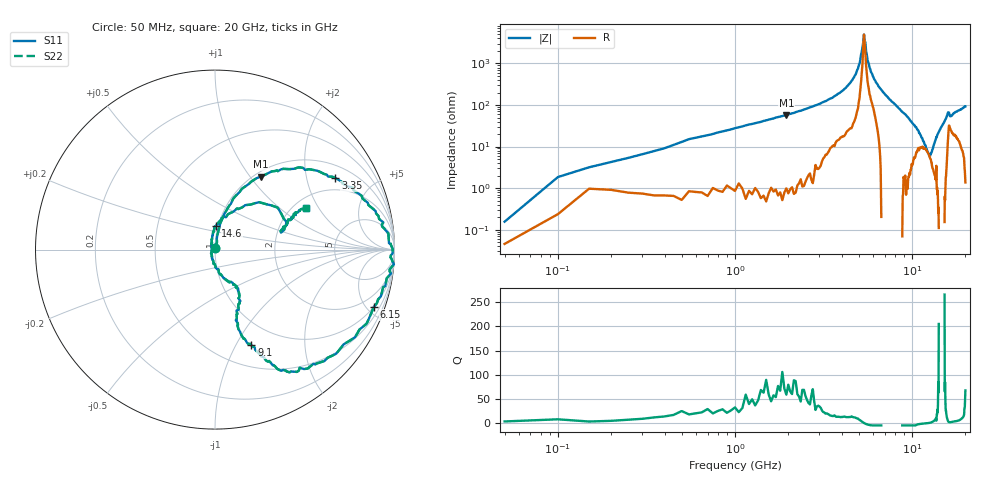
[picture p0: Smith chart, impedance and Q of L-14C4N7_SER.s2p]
#	mhz	s	ma	r	50
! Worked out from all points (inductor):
!   400 points, 50 MHz to 20 GHz, reference 50 ohm
!   read as one part in series: L = 3.31 nH near 150 MHz
!   highest Q = 71.7 at 1.95 GHz (marker M1), where L = 4.73 nH
!   self-resonance near 5.35 GHz
!   S11 on the Smith chart (normalised r, x): 50 MHz: 1.00, +0.02; 3.35 GHz: 1.47, +2.98; 6.15 GHz: 1.00, -5.52; 9.1 GHz: 0.73, -1.16; 14.6 GHz: 0.98, +0.26; 20 GHz: 2.32, +1.58
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50  0.01 84.9  1 0.4  1 0.4  0.01 84.9
150  0.04 74.4  0.99 -1.2  0.99 -1.2  0.04 74.4
550  0.15 78.6  0.98 -8.4  0.98 -8.4  0.15 78.6
1950  0.48 58.0  0.86 -31.6  0.86 -31.6  0.48 58.0
3350  0.78 30.7  0.6 -55.9  0.6 -55.9  0.78 30.7
3400  0.79 29.5  0.59 -56.8  0.59 -56.8  0.79 29.5
4800  0.97 3.3  0.18 -81.4  0.18 -81.4  0.97 3.3
5050  0.99 -1.2  0.1 -82.4  0.1 -82.4  0.99 -1.2
5350  1 -4.7  0.02 -9.8  0.02 -9.8  1 -4.7
5600  0.98 -8.6  0.08 63.2  0.08 63.2  0.98 -8.6
6150  0.94 -19.9  0.23 61.9  0.23 61.9  0.94 -19.9
6700  0.89 -36.4  0.36 54.4  0.36 54.4  0.89 -36.4
9100  0.57 -69.2  0.76 22.5  0.76 22.5  0.57 -69.2
10050  0.41 -73.6  0.87 12.8  0.87 12.8  0.41 -73.6
12400  0.17 -72.6  0.94 -9.9  0.94 -9.9  0.17 -72.6
13350  0.05 -110.7  0.95 -16.4  0.95 -16.4  0.05 -110.7
13750  0.02 152.3  0.95 -19.4  0.95 -19.4  0.02 152.3
14050  0.06 108.8  0.95 -22.3  0.95 -22.3  0.06 108.8
14600  0.13 87.9  0.95 -27.6  0.95 -27.6  0.13 87.9
15950  0.42 33.9  0.78 -40.2  0.78 -40.2  0.42 33.9
16700  0.39 16.8  0.85 -33.9  0.85 -33.9  0.39 16.8
20000  0.56 24.7  0.77 -65.2  0.77 -65.2  0.56 24.7
